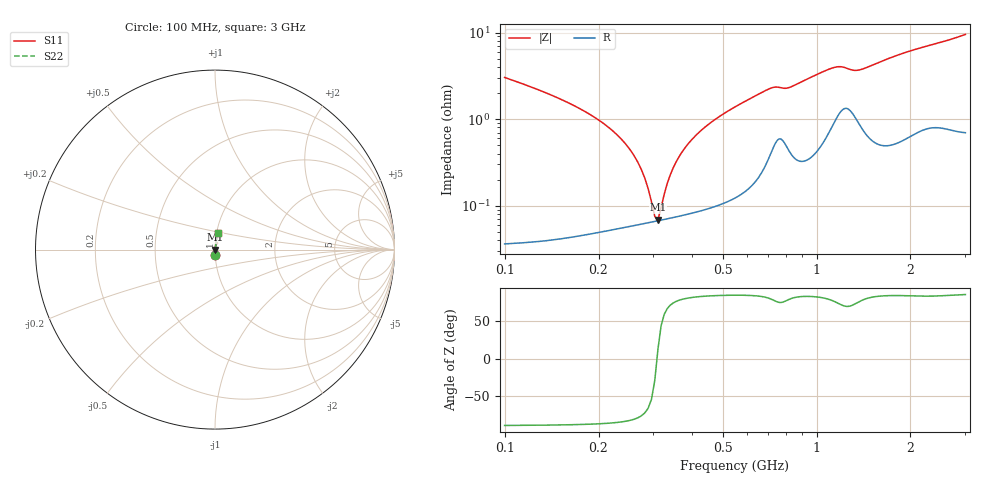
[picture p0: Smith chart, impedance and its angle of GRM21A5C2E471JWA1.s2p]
!Murata Part Number: GRM21A5C2E471JWA1
!These Parameters are Measured in Series Mode Connection
!Data Generated on Mar 30, 2021
!  o--ll--o
!Port1  Port2
!  o------o
!Operation Temp=25[degC], DC Bias Voltage=0[V]
!Freq. Start=100[MHz] Stop=3[GHz] 401[Steps]
# Hz S RI R 50
!Freq.(Hz) S11(Real) S11(Imag) S21(Real) S21(Imag) S12(Real) S12(Imag) S22(Real) S22(Imag)
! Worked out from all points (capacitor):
!   401 points, 100 MHz to 3 GHz, reference 50 ohm
!   read as one part in series: C = 470 pF near 114.5 MHz
!   lowest |Z| = 68.7 mohm at 310.2 MHz (marker M1)
!   series resonance near 308.1 MHz, so ESL is about 570 pH
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1e8  0.00128 -0.0302  0.9987 0.0302  0.9987 0.0302  0.00128 -0.0302
1.87e8  0.000599 -0.0114  0.9994 0.0114  0.9994 0.0114  0.000599 -0.0114
2.3775e8  0.000585 -0.00574  0.9994 0.00574  0.9994 0.00574  0.000585 -0.00574
2.6675e8  0.000609 -0.00317  0.9994 0.00317  0.9994 0.00317  0.000609 -0.00317
2.9575e8  0.000647 -0.000894  0.9994 0.000894  0.9994 0.000894  0.000647 -0.000894
3.03e8  0.000658 -0.000363  0.9993 0.000363  0.9993 0.000363  0.000658 -0.000363
3.1025e8  0.000669 0.000156  0.9993 -0.000156  0.9993 -0.000156  0.000669 0.000156
3.175e8  0.000681 0.000663  0.9993 -0.000663  0.9993 -0.000663  0.000681 0.000663
3.3925e8  0.000721 0.00212  0.9993 -0.00212  0.9993 -0.00212  0.000721 0.00212
3.5375e8  0.000749 0.00305  0.9993 -0.00305  0.9993 -0.00305  0.000749 0.00305
3.9725e8  0.000848 0.00567  0.9992 -0.00567  0.9992 -0.00567  0.000848 0.00567
4.6975e8  0.00106 0.00968  0.9989 -0.00968  0.9989 -0.00968  0.00106 0.00968
5.8575e8  0.00167 0.0157  0.9983 -0.0157  0.9983 -0.0157  0.00167 0.0157
7.1625e8  0.00463 0.0223  0.9954 -0.0223  0.9954 -0.0223  0.00463 0.0223
8.105e8  0.00497 0.0223  0.995 -0.0223  0.995 -0.0223  0.00497 0.0223
1.0715e9  0.00727 0.0355  0.9927 -0.0355  0.9927 -0.0355  0.00727 0.0355
1.18025e9  0.0128 0.0377  0.9872 -0.0377  0.9872 -0.0377  0.0128 0.0377
1.35425e9  0.0105 0.0348  0.9895 -0.0348  0.9895 -0.0348  0.0105 0.0348
1.55e9  0.00708 0.0429  0.9929 -0.0429  0.9929 -0.0429  0.00708 0.0429
2.03575e9  0.0103 0.0613  0.9897 -0.0613  0.9897 -0.0613  0.0103 0.0613
2.5215e9  0.0136 0.0756  0.9864 -0.0756  0.9864 -0.0756  0.0136 0.0756
3e9  0.0156 0.0926  0.9844 -0.0926  0.9844 -0.0926  0.0156 0.0926
